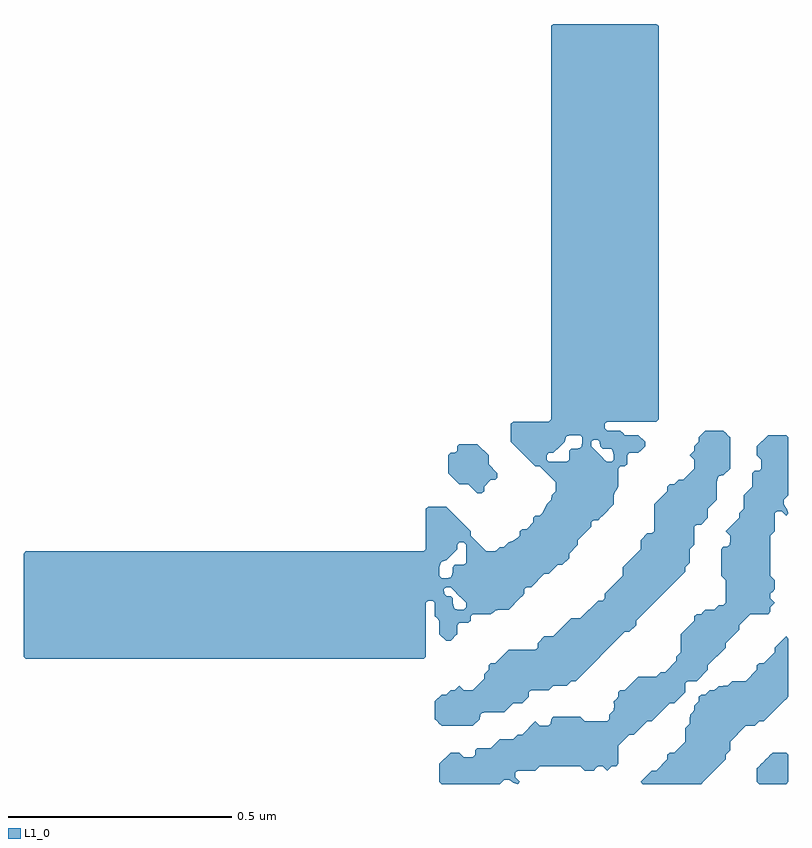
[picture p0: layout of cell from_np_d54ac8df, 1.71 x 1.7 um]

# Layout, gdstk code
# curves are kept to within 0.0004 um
import gdstk
lib = gdstk.Library(unit=1e-6, precision=1e-09)
def P(c, l, *ps):  # polygons
    for p in ps: c.add(gdstk.Polygon(p, *l))
L1_0 = (1, 0)

from_np_d54ac8df = lib.new_cell('from_np_d54ac8df')
P(from_np_d54ac8df, L1_0, [(0.915,1.2),(0.915,1.32),(0.92,1.325),(0.93,1.325),(0.935,1.32),(0.935,1.29),(0.945,1.28),(0.945,1.25),(0.96,1.235),(0.97,1.235),(0.985,1.25),(0.985,1.27),(0.99,1.275),(1.01,1.275),(1.015,1.28),(1.015,1.29),(1.02,1.295),(1.06,1.295),(1.068,1.3),(1.07,1.302),(1.08,1.305),(1.1,1.305),(1.135,1.34),(1.135,1.35),(1.14,1.355),(1.15,1.355),(1.18,1.385),(1.19,1.385),(1.21,1.405),(1.22,1.405),(1.235,1.42),(1.235,1.43),(1.255,1.45),(1.255,1.46),(1.285,1.49),(1.285,1.5),(1.29,1.505),(1.3,1.505),(1.335,1.54),(1.335,1.56),(1.338,1.57),(1.34,1.572),(1.345,1.58),(1.345,1.62),(1.35,1.625),(1.36,1.625),(1.365,1.63),(1.365,1.65),(1.37,1.655),(1.39,1.655),(1.405,1.67),(1.405,1.68),(1.39,1.695),(1.36,1.695),(1.35,1.705),(1.32,1.705),(1.315,1.71),(1.315,1.72),(1.32,1.725),(1.43,1.725),(1.435,1.73),(1.435,2.61),(1.43,2.614),(1.2,2.614),(1.195,2.61),(1.195,1.73),(1.19,1.725),(1.11,1.725),(1.105,1.72),(1.105,1.68),(1.145,1.64),(1.185,1.64),(1.185,1.65),(1.19,1.655),(1.2,1.655),(1.225,1.68),(1.228,1.69),(1.23,1.692),(1.24,1.695),(1.26,1.695),(1.265,1.69),(1.265,1.68),(1.263,1.67),(1.285,1.67),(1.285,1.68),(1.29,1.685),(1.3,1.684),(1.304,1.68),(1.305,1.67),(1.31,1.665),(1.32,1.665),(1.33,1.663),(1.333,1.66),(1.335,1.65),(1.335,1.64),(1.33,1.635),(1.32,1.635),(1.314,1.64),(1.305,1.65),(1.285,1.67),(1.263,1.67),(1.26,1.667),(1.25,1.665),(1.24,1.665),(1.235,1.66),(1.235,1.64),(1.23,1.635),(1.19,1.635),(1.185,1.64),(1.145,1.64),(1.16,1.625),(1.17,1.625),(1.205,1.59),(1.205,1.57),(1.196,1.56),(1.195,1.55),(1.185,1.54),(1.181,1.53),(1.175,1.52),(1.17,1.515),(1.16,1.515),(1.155,1.51),(1.155,1.5),(1.14,1.485),(1.13,1.485),(1.125,1.48),(1.125,1.47),(1.12,1.465),(1.11,1.459),(1.1,1.455),(1.09,1.445),(1.08,1.444),(1.07,1.435),(1.05,1.435),(1.015,1.47),(1.015,1.48),(0.96,1.535),(0.92,1.535),(0.915,1.53),(0.915,1.44),(0.91,1.435),(0.02,1.435),(0.016,1.43),(0.016,1.38),(0.945,1.38),(0.945,1.4),(0.948,1.41),(0.95,1.412),(0.96,1.415),(0.985,1.44),(0.985,1.45),(0.99,1.455),(1,1.455),(1.005,1.45),(1.005,1.41),(1,1.405),(0.98,1.405),(0.975,1.4),(0.975,1.39),(0.973,1.38),(0.97,1.377),(0.96,1.375),(0.95,1.375),(0.945,1.38),(0.016,1.38),(0.016,1.35),(0.955,1.35),(0.96,1.355),(0.97,1.355),(0.995,1.33),(1,1.326),(1.005,1.32),(1.005,1.31),(1,1.305),(0.99,1.305),(0.98,1.307),(0.977,1.31),(0.975,1.32),(0.975,1.33),(0.97,1.335),(0.96,1.336),(0.956,1.34),(0.955,1.35),(0.016,1.35),(0.016,1.2),(0.02,1.195),(0.91,1.195)],
  [(1.035,1.06),(1.037,1.07),(1.04,1.073),(1.05,1.075),(1.09,1.075),(1.11,1.095),(1.13,1.095),(1.145,1.11),(1.145,1.12),(1.15,1.125),(1.19,1.125),(1.2,1.135),(1.23,1.135),(1.24,1.145),(1.25,1.145),(1.36,1.255),(1.37,1.255),(1.385,1.27),(1.385,1.28),(1.495,1.39),(1.495,1.4),(1.505,1.41),(1.505,1.44),(1.515,1.45),(1.515,1.49),(1.52,1.495),(1.53,1.495),(1.545,1.51),(1.545,1.53),(1.565,1.55),(1.565,1.59),(1.567,1.6),(1.57,1.603),(1.58,1.605),(1.595,1.62),(1.595,1.69),(1.58,1.705),(1.54,1.705),(1.525,1.69),(1.525,1.68),(1.515,1.67),(1.515,1.66),(1.505,1.65),(1.515,1.64),(1.515,1.62),(1.49,1.595),(1.48,1.595),(1.47,1.585),(1.46,1.585),(1.455,1.58),(1.455,1.57),(1.425,1.54),(1.425,1.48),(1.42,1.475),(1.41,1.475),(1.395,1.46),(1.395,1.44),(1.355,1.4),(1.355,1.38),(1.315,1.34),(1.315,1.33),(1.31,1.325),(1.3,1.325),(1.26,1.285),(1.24,1.285),(1.2,1.245),(1.18,1.245),(1.165,1.23),(1.165,1.22),(1.16,1.215),(1.1,1.215),(1.07,1.185),(1.06,1.185),(1.055,1.18),(1.055,1.17),(1.045,1.16),(1.045,1.15),(1.02,1.125),(1,1.125),(0.99,1.135),(0.98,1.125),(0.97,1.125),(0.96,1.115),(0.95,1.115),(0.935,1.1),(0.935,1.06),(0.95,1.045),(1.02,1.045)],
  [(1.09,0.925),(1.1,0.925),(1.108,0.92),(1.11,0.918),(1.12,0.915),(1.125,0.92),(1.115,0.93),(1.115,0.94),(1.12,0.945),(1.16,0.945),(1.17,0.955),(1.26,0.955),(1.27,0.945),(1.29,0.945),(1.3,0.955),(1.31,0.955),(1.32,0.945),(1.33,0.955),(1.34,0.955),(1.345,0.96),(1.345,1),(1.37,1.025),(1.38,1.025),(1.41,1.055),(1.42,1.055),(1.46,1.095),(1.47,1.095),(1.495,1.12),(1.495,1.14),(1.5,1.145),(1.52,1.145),(1.545,1.17),(1.545,1.18),(1.585,1.22),(1.585,1.23),(1.615,1.26),(1.615,1.27),(1.64,1.295),(1.68,1.295),(1.685,1.3),(1.685,1.31),(1.695,1.32),(1.685,1.33),(1.685,1.34),(1.695,1.35),(1.695,1.37),(1.685,1.38),(1.685,1.47),(1.695,1.48),(1.695,1.52),(1.7,1.525),(1.71,1.525),(1.72,1.515),(1.725,1.52),(1.722,1.53),(1.72,1.532),(1.715,1.54),(1.715,1.55),(1.725,1.56),(1.725,1.69),(1.72,1.695),(1.68,1.695),(1.655,1.67),(1.655,1.65),(1.665,1.64),(1.665,1.62),(1.66,1.615),(1.65,1.615),(1.645,1.61),(1.645,1.58),(1.625,1.56),(1.625,1.53),(1.615,1.52),(1.615,1.51),(1.585,1.48),(1.595,1.47),(1.595,1.46),(1.594,1.45),(1.59,1.446),(1.58,1.445),(1.575,1.44),(1.575,1.38),(1.585,1.37),(1.585,1.32),(1.58,1.315),(1.57,1.315),(1.56,1.305),(1.55,1.304),(1.54,1.305),(1.53,1.295),(1.52,1.295),(1.515,1.29),(1.515,1.28),(1.485,1.25),(1.485,1.21),(1.475,1.2),(1.475,1.19),(1.45,1.165),(1.44,1.165),(1.43,1.155),(1.39,1.155),(1.36,1.125),(1.35,1.125),(1.345,1.12),(1.345,1.11),(1.335,1.1),(1.336,1.09),(1.335,1.08),(1.325,1.07),(1.325,1.06),(1.32,1.055),(1.27,1.055),(1.26,1.065),(1.2,1.065),(1.195,1.06),(1.194,1.05),(1.19,1.046),(1.18,1.045),(1.17,1.045),(1.16,1.055),(1.13,1.025),(1.12,1.025),(1.11,1.015),(1.08,1.015),(1.06,0.995),(1.03,0.995),(1.025,0.99),(1.025,0.98),(1.02,0.975),(1,0.975),(0.99,0.985),(0.97,0.985),(0.945,0.96),(0.945,0.92),(0.95,0.915),(1.08,0.915)],
  [(1.045,1.57),(1.045,1.58),(1.06,1.595),(1.07,1.595),(1.075,1.6),(1.075,1.61),(1.055,1.63),(1.055,1.65),(1.03,1.675),(0.99,1.675),(0.985,1.67),(0.985,1.66),(0.98,1.655),(0.97,1.655),(0.965,1.65),(0.965,1.61),(0.99,1.585),(1.01,1.585),(1.03,1.565),(1.04,1.565)],
  [(1.535,0.92),(1.585,0.97),(1.585,0.98),(1.595,0.99),(1.595,1.01),(1.63,1.045),(1.65,1.045),(1.66,1.055),(1.67,1.055),(1.725,1.11),(1.725,1.24),(1.72,1.245),(1.695,1.22),(1.695,1.21),(1.67,1.185),(1.66,1.185),(1.655,1.18),(1.655,1.17),(1.63,1.145),(1.6,1.145),(1.59,1.135),(1.58,1.135),(1.57,1.134),(1.56,1.125),(1.55,1.125),(1.54,1.115),(1.53,1.115),(1.525,1.11),(1.525,1.1),(1.515,1.09),(1.515,1.08),(1.506,1.07),(1.505,1.06),(1.505,1.05),(1.495,1.04),(1.495,1.01),(1.47,0.985),(1.46,0.985),(1.455,0.98),(1.455,0.97),(1.43,0.945),(1.42,0.945),(1.395,0.92),(1.4,0.915),(1.53,0.915)],
  [(1.725,0.92),(1.725,0.98),(1.72,0.985),(1.69,0.985),(1.655,0.95),(1.655,0.92),(1.66,0.915),(1.72,0.915)])

lib.write_gds('from_np_d54ac8df.gds')
